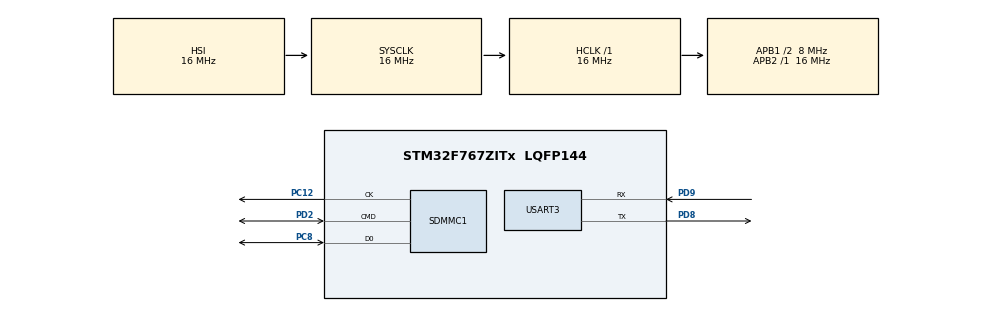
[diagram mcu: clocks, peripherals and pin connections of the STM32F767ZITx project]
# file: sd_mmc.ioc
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FATFS._MAX_SS=4096
Mcu.Family=STM32F7
Mcu.Name=STM32F767ZITx
Mcu.Package=LQFP144
NVIC.PriorityGroup=NVIC_PRIORITYGROUP_4
NVIC.USART3_IRQn=true\:0\:0\:false\:false\:true\:true\:true
PC12.Mode=SD_1_bit
PC12.Signal=SDMMC1_CK
PC8.Mode=SD_1_bit
PC8.Signal=SDMMC1_D0
PD2.Mode=SD_1_bit
PD2.Signal=SDMMC1_CMD
PD8.Mode=Asynchronous
PD8.Signal=USART3_TX
PD9.Mode=Asynchronous
PD9.Signal=USART3_RX
ProjectManager.HeapSize=0x200
ProjectManager.StackSize=0x400
ProjectManager.TargetToolchain=MDK-ARM V5
RCC.48MHZClocksFreq_Value=24000000
RCC.AHBFreq_Value=16000000
RCC.APB1CLKDivider=RCC_HCLK_DIV2
RCC.APB1Freq_Value=8000000
RCC.APB1TimFreq_Value=16000000
RCC.APB2Freq_Value=16000000
RCC.APB2TimFreq_Value=16000000
RCC.CortexFreq_Value=16000000
RCC.HCLKFreq_Value=16000000
RCC.HSE_VALUE=16000000
RCC.HSI_VALUE=16000000
RCC.LSE_VALUE=32768
RCC.PLLMUL=RCC_PLL_MUL9
RCC.PRESCALERUSB=RCC_USBCLKSOURCE_PLL_DIV1_5
RCC.SYSCLKFreq_VALUE=16000000
RCC.SYSCLKSourceVirtual=RCC_SYSCLKSOURCE_PLLCLK
RCC.USBFreq_Value=96000000
RCC.VCOOutputFreq_Value=192000000
USART3.VirtualMode-Asynchronous=VM_ASYNC
VP_FATFS_VS_SDIO.Mode=SDIO
board=NUCLEO-F767ZI

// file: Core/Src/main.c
/* USER CODE BEGIN Header */
/**
  ******************************************************************************
  * @file           : main.c
  * @brief          : Main program body
  ******************************************************************************
  * @attention
  *
  * <h2><center>&copy; Copyright (c) 2019 STMicroelectronics.
  * All rights reserved.</center></h2>
  *
  * This software component is licensed by ST under BSD 3-Clause license,
  * the "License"; You may not use this file except in compliance with the
  * License. You may obtain a copy of the License at:
  *                        opensource.org/licenses/BSD-3-Clause
  *
  ******************************************************************************
  */
/* USER CODE END Header */

#include "main.h"
#include "fatfs.h"
#include "sdmmc.h"
#include "usart.h"
#include "gpio.h"

/* USER CODE BEGIN Includes */
#include "stdio.h"
#include "stdlib.h"
#include "string.h"
/* USER CODE END Includes */

/* USER CODE BEGIN PV */
//SD Card Variables FATFS
extern char SDPath[4];   /* SD logical drive path */
extern FATFS SDFatFS;    /* File system object for SD logical drive */
extern FIL SDFile;       /* File object for SD */

//FILE I/O Variables
FRESULT res;                                          /* FatFs function common result code */
uint32_t byteswritten, bytesread;                     /* File write/read counts */
uint8_t wtext[] = "Hello from Mohamed :), SDIO DMA RTOS"; /* File write buffer */
uint8_t rtext[100];                                   /* File read buffer */

/* USER CODE END PV */

void SystemClock_Config(void);

int main(void)
{

  /* MCU Configuration--------------------------------------------------------*/

  /* Reset of all peripherals, Initializes the Flash interface and the Systick. */
  HAL_Init();

  /* Configure the system clock */
  SystemClock_Config();

  /* Initialize all configured peripherals */
  MX_GPIO_Init();
  MX_SDMMC1_SD_Init();
  MX_USART3_UART_Init();
  MX_FATFS_Init();
  /* USER CODE BEGIN 2 */

		//1. Mount - 0
	f_mount(&SDFatFS, (TCHAR const*)SDPath, 0);

	//TEST Write operation
	//2. Open file for Writing
	if(f_open(&SDFile, "F7FILE1.TXT", FA_CREATE_ALWAYS | FA_WRITE) != FR_OK)
	{
		printf("Failed to open Write file\r\n");
	}
	else
	{
		printf("Opened Write file successfully\r\n");
		//Write data to text file
		res = f_write(&SDFile, wtext, strlen((char *)wtext), (void *)&byteswritten);
		if((byteswritten == 0) || (res != FR_OK))
		{
			printf("Failed to write file!\r\n");
		}
		else
		{
			printf("File written successfully\r\n");
			printf("Write Content: %s\r\n", wtext);
		}
		f_close(&SDFile);
	}

	//Test read file
	f_open(&SDFile, "F7FILE1.TXT",  FA_READ);
		memset(rtext,0,sizeof(rtext));
		res = f_read(&SDFile, rtext, sizeof(rtext), (UINT*)&bytesread);
		if((bytesread == 0) || (res != FR_OK))
		{
			printf("Failed to read file!\r\n");
		}
		else
		{
			printf("File read successfully\r\n");
			printf("File content: %s\r\n", (char *)rtext);
		}
		f_close(&SDFile);

  /* USER CODE END 2 */

  /* Infinite loop */
  while (1)
  {

  }
}

void SystemClock_Config(void)
{
  RCC_OscInitTypeDef RCC_OscInitStruct = {0};
  RCC_ClkInitTypeDef RCC_ClkInitStruct = {0};
  RCC_PeriphCLKInitTypeDef PeriphClkInitStruct = {0};

  /** Configure the main internal regulator output voltage
  */
  __HAL_RCC_PWR_CLK_ENABLE();
  __HAL_PWR_VOLTAGESCALING_CONFIG(PWR_REGULATOR_VOLTAGE_SCALE3);
  /** Initializes the CPU, AHB and APB busses clocks
  */
  RCC_OscInitStruct.OscillatorType = RCC_OSCILLATORTYPE_HSI;
  RCC_OscInitStruct.HSIState = RCC_HSI_ON;
  RCC_OscInitStruct.HSICalibrationValue = RCC_HSICALIBRATION_DEFAULT;
  RCC_OscInitStruct.PLL.PLLState = RCC_PLL_NONE;
  if (HAL_RCC_OscConfig(&RCC_OscInitStruct) != HAL_OK)
  {
    Error_Handler();
  }
  /** Initializes the CPU, AHB and APB busses clocks
  */
  RCC_ClkInitStruct.ClockType = RCC_CLOCKTYPE_HCLK|RCC_CLOCKTYPE_SYSCLK
                              |RCC_CLOCKTYPE_PCLK1|RCC_CLOCKTYPE_PCLK2;
  RCC_ClkInitStruct.SYSCLKSource = RCC_SYSCLKSOURCE_HSI;
  RCC_ClkInitStruct.AHBCLKDivider = RCC_SYSCLK_DIV1;
  RCC_ClkInitStruct.APB1CLKDivider = RCC_HCLK_DIV2;
  RCC_ClkInitStruct.APB2CLKDivider = RCC_HCLK_DIV1;

  if (HAL_RCC_ClockConfig(&RCC_ClkInitStruct, FLASH_LATENCY_0) != HAL_OK)
  {
    Error_Handler();
  }
  PeriphClkInitStruct.PeriphClockSelection = RCC_PERIPHCLK_USART3|RCC_PERIPHCLK_SDMMC1;
  PeriphClkInitStruct.Usart3ClockSelection = RCC_USART3CLKSOURCE_PCLK1;
  PeriphClkInitStruct.Sdmmc1ClockSelection = RCC_SDMMC1CLKSOURCE_SYSCLK;
  if (HAL_RCCEx_PeriphCLKConfig(&PeriphClkInitStruct) != HAL_OK)
  {
    Error_Handler();
  }
}

void Error_Handler(void)
{
}

/************************ (C) COPYRIGHT STMicroelectronics *****END OF FILE****/
